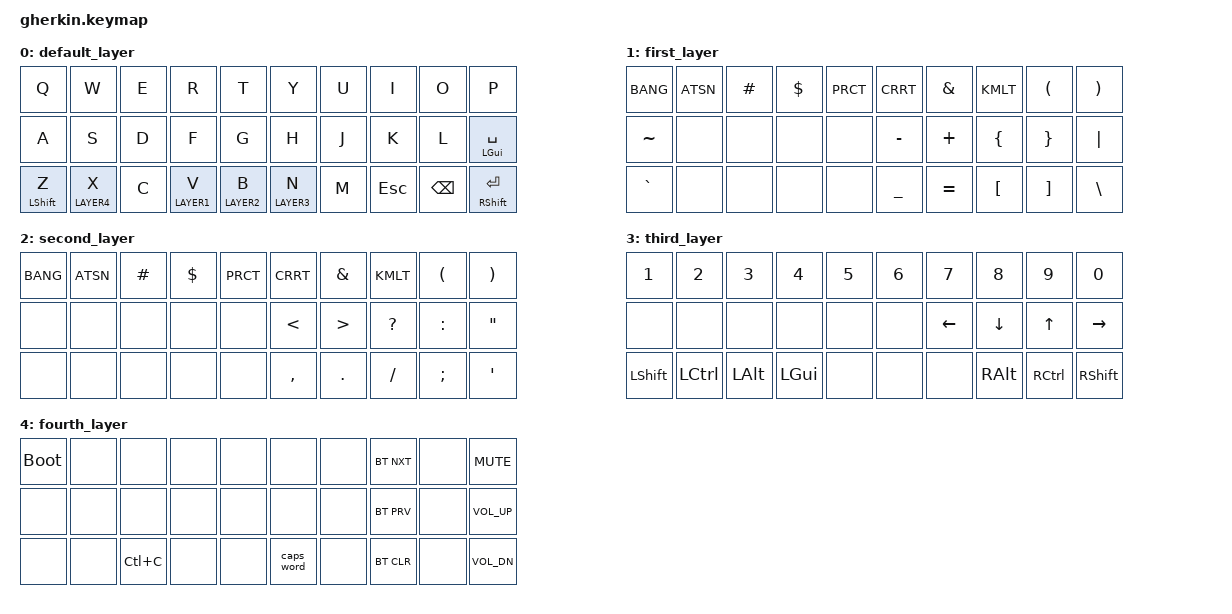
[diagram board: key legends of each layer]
/*
 * Copyright (c) 2020 The ZMK Contributors
 *
 * SPDX-License-Identifier: MIT
 */

#include <behaviors.dtsi>
#include <dt-bindings/zmk/keys.h>
#include <dt-bindings/zmk/bt.h>

#define DEFAULT 0
#define LAYER1   1
#define LAYER2   2
#define LAYER3   3
#define LAYER4   4

/ {
    keymap {
        compatible = "zmk,keymap";

        default_layer {
            bindings = <&kp Q &kp W &kp E &kp R &kp T &kp Y &kp U &kp I &kp O &kp P 
                        &kp A &kp S &kp D &kp F &kp G &kp H &kp J &kp K &kp L &mt LGUI SPACE
                        &mt LSHIFT Z &lt LAYER4 X &kp C &lt LAYER1 V &lt LAYER2 B &lt LAYER3 N &kp M &kp ESC &kp BSPC &mt RSHIFT ENTER
                        >;
        };

        first_layer {
            bindings = <&kp BANG &kp ATSN &kp HASH &kp DLLR &kp PRCT &kp CRRT &kp AMPS &kp KMLT &kp LPRN &kp RPRN 
                        &kp TILDE &none &none &none &none &kp MINUS &kp PLUS &kp LBRC &kp RBRC &kp PIPE 
                        &kp GRAVE &none &none &none &none &kp UNDER &kp EQUAL &kp LBKT &kp RBKT &kp BSLH 
                        >;
        };

        second_layer {
            bindings = <&kp BANG &kp ATSN &kp HASH &kp DLLR &kp PRCT &kp CRRT &kp AMPS &kp KMLT &kp LPRN &kp RPRN 
                        &none &none &none &none &none &kp LT &kp GT &kp QMARK &kp COLON &kp DQT 
                        &none &none &none &none &none &kp COMMA &kp DOT &kp FSLH &kp SEMI &kp SQT 
                        >;
        };
        
        third_layer {
            bindings = <&kp N1 &kp N2 &kp N3 &kp N4 &kp N5 &kp N6 &kp N7 &kp N8 &kp N9 &kp N0
                        &none &none &none &none &none &none &kp LEFT &kp DOWN &kp UP &kp RIGHT
                        &kp LSHFT &kp LCTRL &kp LALT &kp LGUI &none &none &none &kp RALT &kp RCTRL &kp RSHFT
                        >;
        };

        fourth_layer {
            bindings = <&bootloader &none &none &none &none &none &none &bt BT_NXT &none &kp C_MUTE
                        &none &none &none &none &none &none &none &bt BT_PRV &none &kp C_VOL_UP
                        &none &none &kp LC(C) &none &none &caps_word &none &bt BT_CLR &none &kp C_VOL_DN
                        >;
        };
    };
};
